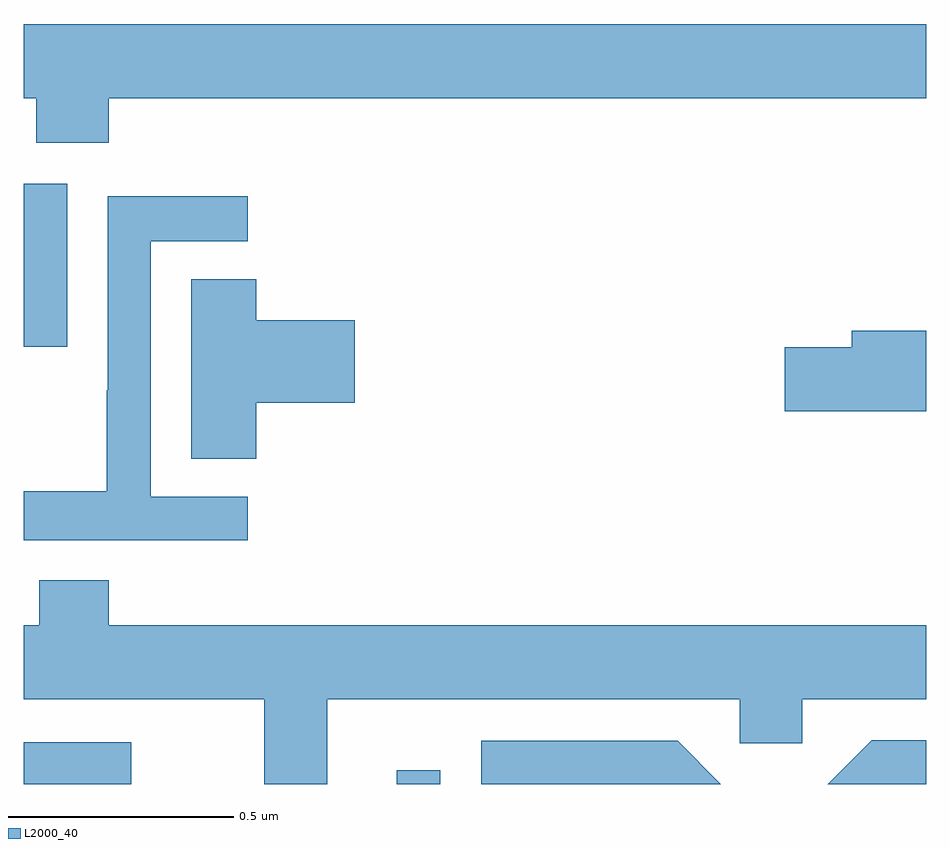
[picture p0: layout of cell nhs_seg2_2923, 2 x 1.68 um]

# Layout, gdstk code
import gdstk
lib = gdstk.Library(unit=1e-6, precision=1e-09)
def R(c, l, rs):  # rectangles x0, y0, x1, y1
    for r in rs: c.add(gdstk.rectangle(r[:2], r[2:], *l))
def P(c, l, *ps):  # polygons
    for p in ps: c.add(gdstk.Polygon(p, *l))
L2000_40 = (2000, 40)

nhs_seg2_2923 = lib.new_cell('nhs_seg2_2923')
R(nhs_seg2_2923, L2000_40, [(147,628.8,147.238,628.893), (147.827,628.8,147.923,628.831), (147,629.769,147.097,630.13)])
P(nhs_seg2_2923, L2000_40, [(147.188,630.32),(149,630.32),(149,630.484),(147,630.484),(147,630.32),(147.028,630.32),(147.028,630.221),(147.188,630.221)],
  [(147.496,629.436),(147.282,629.436),(147.282,630.003),(147.496,630.003),(147.496,630.102),(147.186,630.102),(147.186,629.672),(147.184,629.672),(147.184,629.449),(147,629.449),(147,629.34),(147.496,629.34)],
  [(147.515,629.645),(147.733,629.645),(147.733,629.828),(147.515,629.828),(147.515,629.918),(147.371,629.918),(147.371,629.521),(147.515,629.521)],
  [(149,629.804),(148.835,629.804),(148.835,629.768),(148.686,629.768),(148.686,629.626),(149,629.626)],
  [(147.673,628.988),(148.587,628.988),(148.587,628.89),(148.725,628.89),(148.725,628.988),(149,628.988),(149,629.152),(147.188,629.152),(147.188,629.251),(147.035,629.251),(147.035,629.152),(147,629.152),(147,628.988),(147.533,628.988),(147.533,628.8),(147.673,628.8)],
  [(149,628.897),(148.879,628.897),(148.782,628.8),(149,628.8)],
  [(148.449,628.896),(148.014,628.896),(148.014,628.8),(148.545,628.8)])

lib.write_gds('nhs_seg2_2923.gds')
